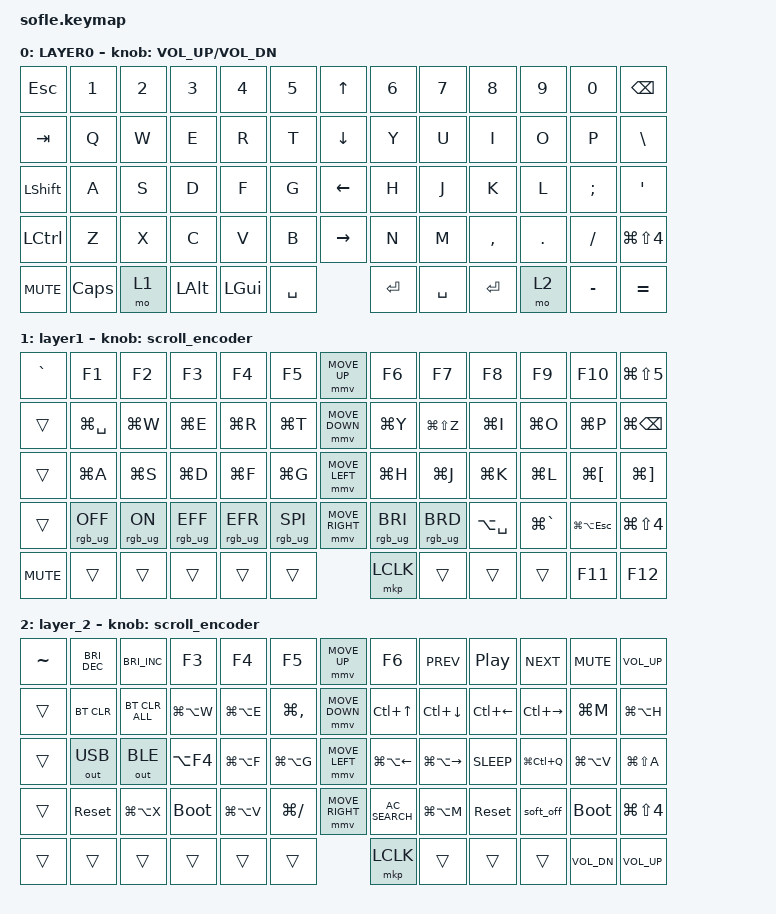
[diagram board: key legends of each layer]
#include <behaviors/mouse_keys.dtsi>
#include <behaviors.dtsi>
#include <dt-bindings/zmk/bt.h>
#include <dt-bindings/zmk/keys.h>
#include <dt-bindings/zmk/mouse.h>
#include <dt-bindings/zmk/outputs.h>
#include <dt-bindings/zmk/rgb.h>

#define ZMK_MOUSE_DEFAULT_MOVE_VAL 1200  // 600
#define ZMK_MOUSE_DEFAULT_SCRL_VAL 20    // 10
#define U_MS_U &mmv MOVE_UP
#define U_MS_D &mmv MOVE_DOWN
#define U_MS_L &mmv MOVE_LEFT
#define U_MS_R &mmv MOVE_RIGHT
#define ZMK_MOUSE_DEFAULT_MOVE_VAL 1200  //  600
#define ZMK_MOUSE_DEFAULT_SCRL_VAL 20    // 10

/ {
    behaviors {
        mmv {
            acceleration-exponent = <1>;      // 1
            time-to-max-speed-ms = <900>;    // 40
            delay-ms = <0>;                   // 0
        };

        msc {
            acceleration-exponent = <1>;      // 0
            time-to-max-speed-ms = <400>;      // 500
            delay-ms = <0>;                   //   10
        };
    };

    scroll_encoder: scroll_encoder {
        compatible = "zmk,behavior-sensor-rotate";
        #sensor-binding-cells = <0>;
        bindings = <&msc SCRL_DOWN>, <&msc SCRL_UP>;

        tap-ms = <30>;
    };

    keymap {
        compatible = "zmk,keymap";

        layer0 {
            bindings = <
&kp ESC     &kp N1     &kp N2      &kp N3      &kp N4  &kp N5       &kp UP_ARROW     &kp N6     &kp N7     &kp N8     &kp N9           &kp N0      &kp BACKSPACE
&kp TAB     &kp Q      &kp W       &kp E       &kp R   &kp T        &kp DOWN_ARROW   &kp Y      &kp U      &kp I      &kp O            &kp P       &kp BSLH
&kp LSHFT   &kp A      &kp S       &kp D       &kp F   &kp G        &kp LEFT_ARROW   &kp H      &kp J      &kp K      &kp L            &kp SEMI    &kp APOS
&kp LCTRL   &kp Z      &kp X       &kp C       &kp V   &kp B        &kp RIGHT_ARROW  &kp N      &kp M      &kp COMMA  &kp DOT          &kp FSLH    &kp LG(LS(N4))
&kp C_MUTE  &kp CAPS   &mo 1       &kp LALT    &kp LGUI      &kp SPACE    &kp ENTER        &kp SPACE  &kp ENTER  &mo 2      &kp MINUS        &kp EQUAL
            >;

            sensor-bindings = <&inc_dec_kp C_VOLUME_UP C_VOL_DN>;
            display-name = "LAYER0";
        };

        layer_1 {
            bindings = <
&kp GRAVE   &kp F1           &kp F2          &kp F3           &kp F4           &kp F5             &mmv MOVE_UP     &kp F6           &kp F7           &kp F8          &kp F9        &kp F10           &kp LG(LS(N5))
&trans      &kp LG(SPACE)    &kp LG(W)       &kp LG(E)        &kp LG(R)        &kp LG(T)          &mmv MOVE_DOWN   &kp LG(Y)        &kp LG(LS(Z))    &kp LG(I)       &kp LG(O)     &kp LG(P)         &kp LG(BACKSPACE)
&trans      &kp LG(A)        &kp LG(S)       &kp LG(D)        &kp LG(F)        &kp LG(G)          &mmv MOVE_LEFT   &kp LG(H)        &kp LG(J)        &kp LG(K)       &kp LG(L)     &kp LG(LBKT)      &kp LG(RBKT)
&trans      &rgb_ug RGB_OFF  &rgb_ug RGB_ON  &rgb_ug RGB_EFF  &rgb_ug RGB_EFR  &rgb_ug RGB_SPI    &mmv MOVE_RIGHT  &rgb_ug RGB_BRI  &rgb_ug RGB_BRD  &kp LA(SPACE)   &kp LG(GRAVE) &kp LG(LA(ESC))   &kp LG(LS(N4))
&kp C_MUTE  &trans           &trans          &trans           &trans           &trans             &mkp LCLK        &trans           &trans           &trans          &kp F11       &kp F12
            >;

            display-name = "layer1";
            sensor-bindings = <&scroll_encoder>;
        };

        layer_2 {
            bindings = <
&kp TILDE  &kp C_BRI_DEC    &kp C_BRI_INC      &kp F3           &kp F4           &kp F5             &mmv MOVE_UP     &kp F6           &kp C_PREV       &kp C_PP        &kp C_NEXT        &kp C_MUTE                              &kp C_VOL_UP
&trans     &bt BT_CLR       &bt BT_CLR_ALL     &kp LG(LA(W))    &kp LG(LA(E))    &kp LG(COMMA)      &mmv MOVE_DOWN   &kp LC(UP)       &kp LC(DOWN)     &kp LC(LEFT)    &kp LC(RIGHT)     &kp LG(M)                               &kp LG(LA(H))
&trans     &out OUT_USB     &out OUT_BLE       &kp LA(F4)       &kp LG(LA(F))    &kp LG(LA(G))      &mmv MOVE_LEFT   &kp LG(LA(LEFT)) &kp LG(LA(RIGHT)) &kp C_SLEEP     &kp LG(LC(Q))     &kp LG(LA(V))                           &kp LG(LS(A))
&trans     &sys_reset       &kp LG(LA(X))      &bootloader      &kp LG(LA(V))    &kp LG(FSLH)       &mmv MOVE_RIGHT  &kp C_AC_SEARCH  &kp LG(LA(M))    &sys_reset      &soft_off         &bootloader                             &kp LG(LS(N4))
&trans     &trans           &trans             &trans           &trans           &trans             &mkp LCLK        &trans           &trans           &trans          &kp C_VOL_DN      &kp C_VOL_UP
            >;

            sensor-bindings = <&scroll_encoder>;
        };
    };
};
